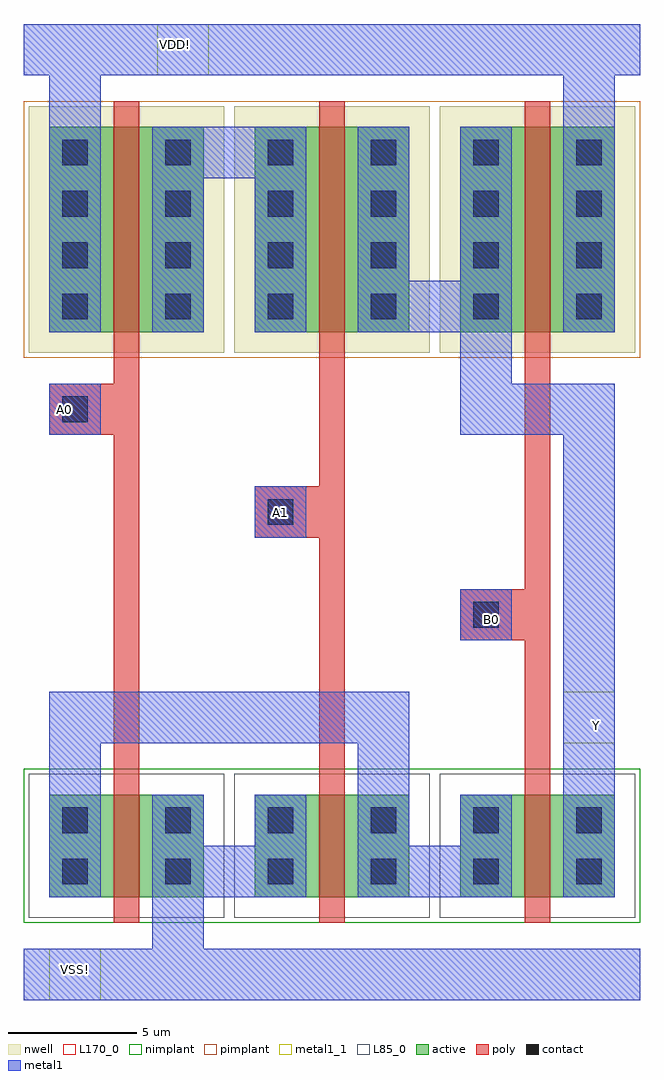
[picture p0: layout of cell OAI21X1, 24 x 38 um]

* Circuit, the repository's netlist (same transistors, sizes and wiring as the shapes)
* +++++++++++++++++++++++++++++++++++++++++++++++++++++++++ *
* CDL Netlist:                                              *
*                                                           *
* Cell Name  : OAI21X1                                      *
* Netlisted  : Tue Dec 21 07:13:40 2021                     *
* PVS Version: 16.15-s010 Fri Jun 28 22:24:07 PDT 2019      *
* +++++++++++++++++++++++++++++++++++++++++++++++++++++++++ *
*.LDD
*.DEVTMPLT 0 MN(nmos3) _nmos1v _soi_nd(D) poly_conn(G) _soi_nsb(S) _soi_nsb(B)
*.DEVTMPLT 1 MP(pmos3) _pmos1v _soi_pd(D) poly_conn(G) _soi_psb(S) _soi_psb(B)

* +++++++++++++++++++++++++++++++++++++++++++++++++++++++++ *
* Sub cell: nmos3_CDNS_2                                    *
* +++++++++++++++++++++++++++++++++++++++++++++++++++++++++ *
.subckt nmos3_CDNS_2 2 3 4
** N=4 EP=3 FDC=1
M0 3 4 2 2 nmos3 L=1e-06 W=4e-06 AD=1e-11 AS=0 PD=1.3e-05 PS=0 fw=4e-06 sa=2e-06 sb=2e-06 $X=7000 $Y=2000 $dt=0
.ends nmos3_CDNS_2

* +++++++++++++++++++++++++++++++++++++++++++++++++++++++++ *
* Sub cell: pmos3_CDNS_3                                    *
* +++++++++++++++++++++++++++++++++++++++++++++++++++++++++ *
.subckt pmos3_CDNS_3 2 3 4
** N=5 EP=3 FDC=1
M0 3 4 2 2 pmos3 L=1e-06 W=8e-06 AD=2e-11 AS=0 PD=2.1e-05 PS=0 fw=8e-06 sa=2e-06 sb=2e-06 $X=7000 $Y=2000 $dt=1
.ends pmos3_CDNS_3

* +++++++++++++++++++++++++++++++++++++++++++++++++++++++++ *
* Sub cell: OAI21X1                                         *
* +++++++++++++++++++++++++++++++++++++++++++++++++++++++++ *
.subckt OAI21X1 A0 A1 B0 VDD! VSS! Y
** N=9 EP=6 FDC=6
X3 VSS! 6 A0 nmos3_CDNS_2 $T=0 4000 0 0 $X=0 $Y=4000
X4 VSS! 6 A1 nmos3_CDNS_2 $T=32000 4000 1 180 $X=16000 $Y=4000
X5 6 Y B0 nmos3_CDNS_2 $T=48000 4000 1 180 $X=32000 $Y=4000
X6 VDD! 9 A0 pmos3_CDNS_3 $T=16000 68000 0 180 $X=0 $Y=46000
X7 9 Y A1 pmos3_CDNS_3 $T=32000 68000 0 180 $X=16000 $Y=46000
X8 VDD! Y B0 pmos3_CDNS_3 $T=32000 68000 1 0 $X=32000 $Y=46000
.ends OAI21X1

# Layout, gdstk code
from math import pi, radians
import gdstk
lib = gdstk.Library(unit=1e-6, precision=5e-10)
def R(c, l, rs):  # rectangles x0, y0, x1, y1
    for r in rs: c.add(gdstk.rectangle(r[:2], r[2:], *l))
def A(c, l, x, y, w, h, nx, ny, dx, dy):  # array of equal rectangles
    R(c, l, [(x+i*dx, y+j*dy, x+i*dx+w, y+j*dy+h) for i in range(nx) for j in range(ny)])
active = (1, 0)
nwell = (2, 0)
poly = (3, 0)
nimplant = (4, 0)
pimplant = (5, 0)
contact = (6, 0)
metal1 = (7, 0)
metal1_1 = (7, 1)
L85_0 = (85, 0)
L170_0 = (170, 0)

nmos3_cdns_2 = lib.new_cell('nmos3_CDNS_2')
R(nmos3_cdns_2, active, [(1,1,7,5)])
R(nmos3_cdns_2, poly, [(3.5,0,4.5,7), (3.6,5.5,4.4,5.9)])
R(nmos3_cdns_2, nimplant, [(0,0,8,6)])
R(nmos3_cdns_2, contact, [(1.5,1.5,2.5,2.5), (5.5,1.5,6.5,2.5), (5.5,1.5,6.5,2.5), (1.5,3.5,2.5,4.5), (5.5,3.5,6.5,4.5)])
R(nmos3_cdns_2, metal1, [(1,1,3,5), (5,1,7,5), (1.3,1.3,2.7,4.7), (5.3,1.3,6.7,4.7)])
R(nmos3_cdns_2, L85_0, [(0.2,0.2,7.8,5.8)])
R(nmos3_cdns_2, L170_0, [(4.5,1,7,5)])

pmos3_cdns_3 = lib.new_cell('pmos3_CDNS_3')
R(pmos3_cdns_3, active, [(1,1,7,9)])
R(pmos3_cdns_3, nwell, [(0.2,0.2,7.8,9.8)])
R(pmos3_cdns_3, poly, [(3.5,0,4.5,11), (3.6,9.6,4.4,9.9)])
R(pmos3_cdns_3, pimplant, [(0,0,8,10)])
A(pmos3_cdns_3, contact, 1.5, 1.5, 1, 1, 1, 4, 0, 2)
A(pmos3_cdns_3, contact, 5.5, 1.5, 1, 1, 1, 4, 0, 2)
R(pmos3_cdns_3, contact, [(5.5,1.5,6.5,2.5)])
R(pmos3_cdns_3, metal1, [(1,1,3,9), (5,1,7,9), (1.3,1.3,2.7,2.7), (5.3,1.3,6.7,2.7)])
R(pmos3_cdns_3, L170_0, [(4.5,1,7,9)])

m1_po_cdns_1 = lib.new_cell('M1_PO_CDNS_1')
R(m1_po_cdns_1, poly, [(-1,-1,1,1)])
R(m1_po_cdns_1, contact, [(-0.5,-0.5,0.5,0.5)])
R(m1_po_cdns_1, metal1, [(-1,-1,1,1)])

oai21x1 = lib.new_cell('OAI21X1')
R(oai21x1, poly, [(18.7,13,19.9,15), (10.6,17,11.7,19), (2.6,21,4,23)])
R(oai21x1, metal1, [(17,13,19,15), (9,17,11,19), (1,21,3,23)])
R(oai21x1, metal1_1, [(1,-1,3,1), (21,9,23,11), (17,13,19,15), (9,17,11,19), (1,21,3,23), (5.2,35,7.2,37)])
oai21x1.add(gdstk.FlexPath([(20,7.1),(20,24.9)], 1, ends="flush", simple_path=True, layer=3, datatype=0))  # poly
oai21x1.add(gdstk.FlexPath([(12,7.1),(12,25.1)], 1, ends="flush", simple_path=True, layer=3, datatype=0))  # poly
oai21x1.add(gdstk.FlexPath([(4,7.1),(4,25.3)], 1, ends="flush", simple_path=True, layer=3, datatype=0))  # poly
oai21x1.add(gdstk.FlexPath([(22,22),(22,3.3)], 2, ends=(1, 0), simple_path=True, layer=7, datatype=0))  # metal1
oai21x1.add(gdstk.FlexPath([(18,22),(22,22)], 2, ends="extended", simple_path=True, layer=7, datatype=0))  # metal1
oai21x1.add(gdstk.FlexPath([(18,26.5),(18,22)], 2, ends=(0, 1), simple_path=True, layer=7, datatype=0))  # metal1
oai21x1.add(gdstk.FlexPath([(2,10),(14,10)], 2, ends="extended", simple_path=True, layer=7, datatype=0))  # metal1
oai21x1.add(gdstk.FlexPath([(2,5),(2,10)], 2, ends=(0, 1), simple_path=True, layer=7, datatype=0))  # metal1
oai21x1.add(gdstk.FlexPath([(6,4),(5,4)], 2, ends=(1, 0), simple_path=True, layer=7, datatype=0))  # metal1
oai21x1.add(gdstk.FlexPath([(0,0),(6,0)], 2, ends=(0, 1), simple_path=True, layer=7, datatype=0))  # metal1
oai21x1.add(gdstk.FlexPath([(6,7),(6,4)], 2, ends=(0, 1), simple_path=True, layer=7, datatype=0))  # metal1
oai21x1.add(gdstk.FlexPath([(6,4),(6,0)], 2, ends="extended", simple_path=True, layer=7, datatype=0))  # metal1
oai21x1.add(gdstk.FlexPath([(10,4),(6,4)], 2, ends="extended", simple_path=True, layer=7, datatype=0))  # metal1
oai21x1.add(gdstk.FlexPath([(10,6.7),(10,4)], 2, ends=(0, 1), simple_path=True, layer=7, datatype=0))  # metal1
oai21x1.add(gdstk.FlexPath([(14,4),(18.9,4)], 2, ends=(1, 0), simple_path=True, layer=7, datatype=0))  # metal1
oai21x1.add(gdstk.FlexPath([(14,10),(14,4)], 2, ends="extended", simple_path=True, layer=7, datatype=0))  # metal1
oai21x1.add(gdstk.FlexPath([(13,26),(18.4,26)], 2, ends="flush", simple_path=True, layer=7, datatype=0))  # metal1
oai21x1.add(gdstk.FlexPath([(5.3,32),(10.7,32)], 2, ends="flush", simple_path=True, layer=7, datatype=0))  # metal1
oai21x1.add(gdstk.FlexPath([(0,36),(2,36)], 2, ends=(0, 1), simple_path=True, layer=7, datatype=0))  # metal1
oai21x1.add(gdstk.FlexPath([(2,27.3),(2,36)], 2, ends=(0, 1), simple_path=True, layer=7, datatype=0))  # metal1
oai21x1.add(gdstk.FlexPath([(2,36),(22,36)], 2, ends="extended", simple_path=True, layer=7, datatype=0))  # metal1
oai21x1.add(gdstk.FlexPath([(22,27.3),(22,36)], 2, ends=(0, 1), simple_path=True, layer=7, datatype=0))  # metal1
oai21x1.add(gdstk.FlexPath([(6,0),(24,0)], 2, ends=(1, 0), simple_path=True, layer=7, datatype=0))  # metal1
oai21x1.add(gdstk.FlexPath([(22,36),(24,36)], 2, ends=(1, 0), simple_path=True, layer=7, datatype=0))  # metal1
oai21x1.add(gdstk.Reference(nmos3_cdns_2, (24,2), rotation=pi, x_reflection=True))
oai21x1.add(gdstk.Reference(nmos3_cdns_2, (16,2), rotation=pi, x_reflection=True))
oai21x1.add(gdstk.Reference(nmos3_cdns_2, (0,2)))
oai21x1.add(gdstk.Reference(pmos3_cdns_3, (8,34), rotation=pi))
oai21x1.add(gdstk.Reference(pmos3_cdns_3, (16,34), x_reflection=True))
oai21x1.add(gdstk.Reference(pmos3_cdns_3, (16,34), rotation=pi))
oai21x1.add(gdstk.Reference(m1_po_cdns_1, (18,14)))
oai21x1.add(gdstk.Reference(m1_po_cdns_1, (10,18)))
oai21x1.add(gdstk.Reference(m1_po_cdns_1, (2,22)))
oai21x1.add(gdstk.Label('Y', (22.3,9.7), layer=7, texttype=3))
oai21x1.add(gdstk.Label('B0', (18.2,13.8), layer=7, texttype=3))
oai21x1.add(gdstk.Label('A1', (10,18), layer=7, texttype=3))
oai21x1.add(gdstk.Label('VSS!', (2,0.2), layer=7, texttype=3))
oai21x1.add(gdstk.Label('VDD!', (5.9,36.2), layer=7, texttype=3))
oai21x1.add(gdstk.Label('A0', (1.6,22), layer=7, texttype=3))

lib.write_gds('OAI21X1.gds')
